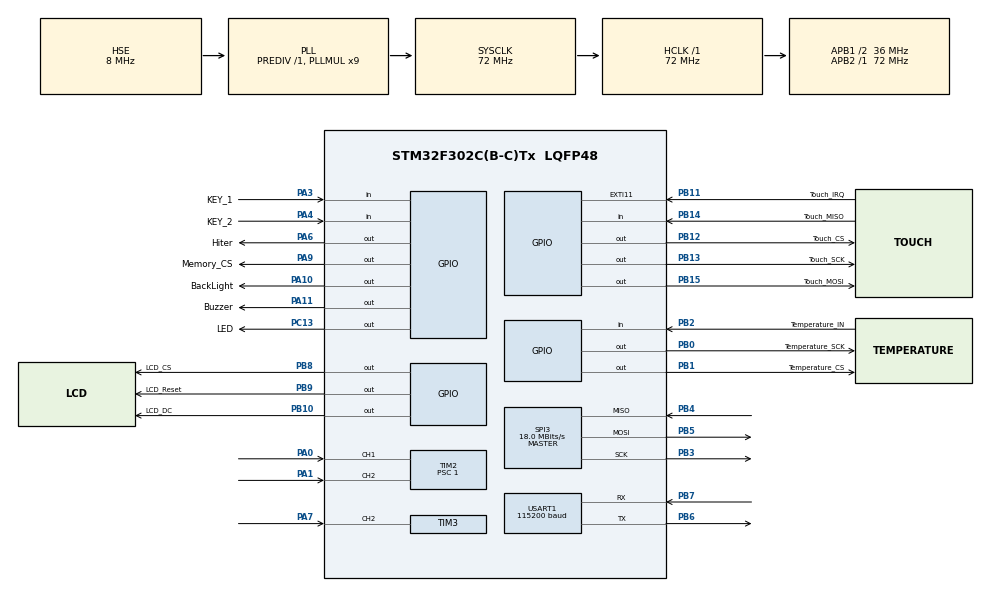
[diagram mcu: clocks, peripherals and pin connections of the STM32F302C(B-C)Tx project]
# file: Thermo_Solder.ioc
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FREERTOS.HEAP_NUMBER=4
FREERTOS.INCLUDE_uxTaskPriorityGet=0
FREERTOS.MEMORY_ALLOCATION=0
FREERTOS.Queues01=ValuePower,2,uint16_t,0,Dynamic,NULL,NULL
FREERTOS.Tasks01=defaultTask,-2,128,StartDefaultTask,Default,NULL,Dynamic,NULL,NULL;LCD_OUT,-2,256,LCD_TASK,Default,NULL,Dynamic,NULL,NULL;GetTemperature,1,256,GetTemp,Default,NULL,Dynamic,NULL,NULL;Enc,0,128,GetEnc,Default,NULL,Dynamic,NULL,NULL;Button,0,128,ButtonState,Default,NULL,Dynamic,NULL,NULL;PID,0,1024,CalcPID,Default,NULL,Dynamic,NULL,NULL;SetValue,0,128,SetValuePower,Default,NULL,Dynamic,NULL,NULL
FREERTOS.configTOTAL_HEAP_SIZE=28000
Mcu.Family=STM32F3
Mcu.Name=STM32F302C(B-C)Tx
Mcu.Package=LQFP48
NVIC.PriorityGroup=NVIC_PRIORITYGROUP_4
NVIC.TIM1_TRG_COM_TIM17_IRQn=true\:0\:0\:false\:false\:true\:false\:false\:true
NVIC.TIM3_IRQn=true\:0\:0\:false\:false\:true\:true\:true\:true
NVIC.TIM4_IRQn=true\:0\:0\:false\:false\:true\:true\:true\:true
NVIC.TimeBase=TIM1_TRG_COM_TIM17_IRQn
NVIC.TimeBaseIP=TIM17
PA0.GPIO_PuPd=GPIO_PULLUP
PA0.GPIO_Speed=GPIO_SPEED_FREQ_HIGH
PA0.Signal=S_TIM2_CH1_ETR
PA1.GPIO_PuPd=GPIO_PULLUP
PA1.GPIO_Speed=GPIO_SPEED_FREQ_HIGH
PA1.Signal=S_TIM2_CH2
PA10.GPIO_Label=BackLight
PA10.GPIO_PuPd=GPIO_PULLDOWN
PA10.Signal=GPIO_Output
PA11.GPIO_Label=Buzzer
PA11.GPIO_PuPd=GPIO_PULLDOWN
PA11.Signal=GPIO_Output
PA13.Mode=Serial_Wire
PA13.Signal=SYS_JTMS-SWDIO
PA14.Mode=Serial_Wire
PA14.Signal=SYS_JTCK-SWCLK
PA3.GPIO_Label=KEY_1
PA3.GPIO_PuPd=GPIO_PULLUP
PA3.Signal=GPIO_Input
PA4.GPIO_Label=KEY_2
PA4.GPIO_PuPd=GPIO_PULLUP
PA4.Signal=GPIO_Input
PA6.GPIO_Label=Hiter
PA6.GPIO_PuPd=GPIO_PULLDOWN
PA6.Signal=GPIO_Output
PA7.Signal=S_TIM3_CH2
PA9.GPIO_Label=Memory_CS
PA9.GPIO_PuPd=GPIO_PULLUP
PA9.Signal=GPIO_Output
PB0.GPIO_Label=Temperature_SCK
PB0.Signal=GPIO_Output
PB1.GPIO_Label=Temperature_CS
PB1.GPIO_PuPd=GPIO_PULLUP
PB1.Signal=GPIO_Output
PB10.GPIO_Label=LCD_DC
PB10.GPIO_PuPd=GPIO_PULLDOWN
PB10.Signal=GPIO_Output
PB11.GPIO_Label=Touch_IRQ
PB11.Signal=GPXTI11
PB12.GPIO_Label=Touch_CS
PB12.GPIO_PuPd=GPIO_PULLUP
PB12.Signal=GPIO_Output
PB13.GPIO_Label=Touch_SCK
PB13.Signal=GPIO_Output
PB14.GPIO_Label=Touch_MISO
PB14.Signal=GPIO_Input
PB15.GPIO_Label=Touch_MOSI
PB15.Signal=GPIO_Output
PB2.GPIO_Label=Temperature_IN
PB2.Signal=GPIO_Input
PB3.Mode=Full_Duplex_Master
PB3.Signal=SPI3_SCK
PB4.Mode=Full_Duplex_Master
PB4.Signal=SPI3_MISO
PB5.Mode=Full_Duplex_Master
PB5.Signal=SPI3_MOSI
PB6.Mode=Asynchronous
PB6.Signal=USART1_TX
PB7.Mode=Asynchronous
PB7.Signal=USART1_RX
PB8.GPIO_Label=LCD_CS
PB8.GPIO_PuPd=GPIO_PULLUP
PB8.Signal=GPIO_Output
PB9.GPIO_Label=LCD_Reset
PB9.GPIO_PuPd=GPIO_PULLDOWN
PB9.Signal=GPIO_Output
PC13.GPIO_Label=LED
PC13.GPIO_PuPd=GPIO_PULLDOWN
PC13.Signal=GPIO_Output
PC14-OSC32_IN.Mode=LSE-External-Oscillator
PC14-OSC32_IN.Signal=RCC_OSC32_IN
PC15-OSC32_OUT.Mode=LSE-External-Oscillator
PC15-OSC32_OUT.Signal=RCC_OSC32_OUT
PF0-OSC_IN.Mode=HSE-External-Oscillator
PF0-OSC_IN.Signal=RCC_OSC_IN
PF1-OSC_OUT.Mode=HSE-External-Oscillator
PF1-OSC_OUT.Signal=RCC_OSC_OUT
ProjectManager.HeapSize=0x200
ProjectManager.StackSize=0x400
ProjectManager.TargetToolchain=Makefile
RCC.AHBFreq_Value=72000000
RCC.APB1CLKDivider=RCC_HCLK_DIV2
RCC.APB1Freq_Value=36000000
RCC.APB1TimFreq_Value=72000000
RCC.APB2Freq_Value=72000000
RCC.APB2TimFreq_Value=72000000
RCC.CortexFreq_Value=72000000
RCC.HCLKFreq_Value=72000000
RCC.HSE_VALUE=8000000
RCC.HSI_VALUE=8000000
RCC.PLLMUL=RCC_PLL_MUL9
RCC.PLLSourceVirtual=RCC_PLLSOURCE_HSE
RCC.RTCClockSelection=RCC_RTCCLKSOURCE_LSE
RCC.SYSCLKFreq_VALUE=72000000
RCC.SYSCLKSourceVirtual=RCC_SYSCLKSOURCE_PLLCLK
RCC.USBFreq_Value=72000000
RTC.Alarm-Alarm\ A=RTC_ALARM_A
SH.S_TIM2_CH1_ETR.0=TIM2_CH1,Encoder_Interface
SH.S_TIM2_CH2.0=TIM2_CH2,Encoder_Interface
SH.S_TIM3_CH2.0=TIM3_CH2,TriggerSource_TI2FP2
SPI3.BaudRatePrescaler=SPI_BAUDRATEPRESCALER_2
SPI3.CalculateBaudRate=18.0 MBits/s
SPI3.DataSize=SPI_DATASIZE_8BIT
SPI3.Direction=SPI_DIRECTION_2LINES
SPI3.Mode=SPI_MODE_MASTER
SPI3.VirtualType=VM_MASTER
TIM2.AutoReloadPreload=TIM_AUTORELOAD_PRELOAD_ENABLE
TIM2.ClockDivision=TIM_CLOCKDIVISION_DIV4
TIM2.EncoderMode=TIM_ENCODERMODE_TI12
TIM2.IC1Polarity=TIM_ICPOLARITY_RISING
TIM2.IC2Polarity=TIM_ICPOLARITY_RISING
TIM2.Period=65535
TIM2.Prescaler=1
TIM3.Period=850
TIM3.Prescaler=720-1
TIM3.Slave_TriggerPolarity=TIM_TRIGGERPOLARITY_FALLING
TIM3.TIM_MasterOutputTrigger=TIM_TRGO_UPDATE
TIM4.CounterMode=TIM_COUNTERMODE_DOWN
TIM4.Period=1
TIM4.Prescaler=720-1
USART1.BaudRate=115200
USART1.VirtualMode-Asynchronous=VM_ASYNC
VP_FREERTOS_VS_CMSIS_V1.Mode=CMSIS_V1
VP_RTC_VS_RTC_Activate.Mode=RTC_Enabled
VP_RTC_VS_RTC_Alarm_A_Intern.Mode=Alarm A
VP_RTC_VS_RTC_Calendar.Mode=RTC_Calendar
VP_SYS_VS_tim17.Mode=TIM17
VP_TIM3_VS_ClockSourceINT.Mode=Internal
VP_TIM3_VS_ControllerModeTrigger.Mode=Trigger Mode
VP_TIM4_VS_ClockSourceINT.Mode=Internal
VP_TIM4_VS_ClockSourceITR.Mode=TriggerSource_ITR2
VP_TIM4_VS_ControllerModeTrigger.Mode=Trigger Mode
board=custom

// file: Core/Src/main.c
/* USER CODE BEGIN Header */
/**
  ******************************************************************************
  * @file           : main.c
  * @brief          : Main program body
  ******************************************************************************
  * @attention
  *
  * <h2><center>&copy; Copyright (c) 2020 STMicroelectronics.
  * All rights reserved.</center></h2>
  *
  * This software component is licensed by ST under BSD 3-Clause license,
  * the "License"; You may not use this file except in compliance with the
  * License. You may obtain a copy of the License at:
  *                        opensource.org/licenses/BSD-3-Clause
  *
  ******************************************************************************
  */
/* USER CODE END Header */
#include "main.h"
#include "cmsis_os.h"
#include "rtc.h"
#include "spi.h"
#include "tim.h"
#include "usart.h"
#include "gpio.h"

/* USER CODE BEGIN Includes */
#include "ILI9341_GFX.h"
#include "ILI9341_STM32_Driver.h"
#include "ILI9341_Touchscreen.h"
#include "max6675.h"
#include "pid.h"
/* USER CODE END Includes */

void SystemClock_Config(void);
void MX_FREERTOS_Init(void);

/* USER CODE BEGIN 0 */
volatile pid_controller_t pid;
char buf[20];
volatile uint16_t CurrentTemp;
volatile uint16_t SetTemp = 22;
/* USER CODE END 0 */

int main(void)
{
  /* USER CODE BEGIN 1 */
uint8_t count;
  /* USER CODE END 1 */

  /* MCU Configuration--------------------------------------------------------*/

  /* Reset of all peripherals, Initializes the Flash interface and the Systick. */
  HAL_Init();

  /* Configure the system clock */
  SystemClock_Config();

  /* Initialize all configured peripherals */
  MX_GPIO_Init();
  MX_RTC_Init();
  MX_SPI3_Init();
  MX_TIM2_Init();
  MX_TIM3_Init();
  MX_USART1_UART_Init();
  MX_TIM4_Init();
  /* USER CODE BEGIN 2 */
  TIM2->CNT =  32768;
MAX6675_Init();
ILI9341_Init();
ILI9341_Fill_Screen(WHITE);
ILI9341_Set_Rotation(SCREEN_HORIZONTAL_1);
ILI9341_Draw_Text("Start",0,0,BLACK,4,WHITE);
HAL_Delay(1000);
ILI9341_Fill_Screen(WHITE);
HAL_TIM_Encoder_Start(&htim2, TIM_CHANNEL_1);
HAL_TIM_Encoder_Start(&htim2, TIM_CHANNEL_2);
pid_controller_init(&pid, 75,6.7, 20.15, MIN_PID, MAX_PID);
count = sprintf(buf, "Start\n\r");
HAL_UART_Transmit(&huart1,buf,count,100);
HAL_TIM_Base_Start_IT(&htim3);
//TIM3->DIER = 1;
HAL_TIM_Base_Start_IT(&htim4);
//TIM2->CCER = TIM_CCER_CC1P | TIM_CCER_CC2P;
//TIM2->CCMR1 = TIM_CCMR1_CC1S_0 | TIM_CCMR1_CC2S_0;
//TIM2->SMCR = TIM_SMCR_SMS_0 | TIM_SMCR_SMS_1;
//TIM2->CR1 = TIM_CR1_CEN;
//HAL_Delay(2000);
//HAL_TIM_Encoder_Start(&htim2, TIM_CHANNEL_2);
  /* USER CODE END 2 */

  /* Call init function for freertos objects (in freertos.c) */
  MX_FREERTOS_Init();
  /* Start scheduler */
  osKernelStart();

  /* We should never get here as control is now taken by the scheduler */
  /* Infinite loop */
  while (1)
  {

  }
}

void SystemClock_Config(void)
{
  RCC_OscInitTypeDef RCC_OscInitStruct = {0};
  RCC_ClkInitTypeDef RCC_ClkInitStruct = {0};
  RCC_PeriphCLKInitTypeDef PeriphClkInit = {0};

  /** Configure LSE Drive Capability
  */
  HAL_PWR_EnableBkUpAccess();
  __HAL_RCC_LSEDRIVE_CONFIG(RCC_LSEDRIVE_LOW);
  /** Initializes the RCC Oscillators according to the specified parameters
  * in the RCC_OscInitTypeDef structure.
  */
  RCC_OscInitStruct.OscillatorType = RCC_OSCILLATORTYPE_HSE|RCC_OSCILLATORTYPE_LSE;
  RCC_OscInitStruct.HSEState = RCC_HSE_ON;
  RCC_OscInitStruct.HSEPredivValue = RCC_HSE_PREDIV_DIV1;
  RCC_OscInitStruct.LSEState = RCC_LSE_ON;
  RCC_OscInitStruct.HSIState = RCC_HSI_ON;
  RCC_OscInitStruct.PLL.PLLState = RCC_PLL_ON;
  RCC_OscInitStruct.PLL.PLLSource = RCC_PLLSOURCE_HSE;
  RCC_OscInitStruct.PLL.PLLMUL = RCC_PLL_MUL9;
  if (HAL_RCC_OscConfig(&RCC_OscInitStruct) != HAL_OK)
  {
    Error_Handler();
  }
  /** Initializes the CPU, AHB and APB buses clocks
  */
  RCC_ClkInitStruct.ClockType = RCC_CLOCKTYPE_HCLK|RCC_CLOCKTYPE_SYSCLK
                              |RCC_CLOCKTYPE_PCLK1|RCC_CLOCKTYPE_PCLK2;
  RCC_ClkInitStruct.SYSCLKSource = RCC_SYSCLKSOURCE_PLLCLK;
  RCC_ClkInitStruct.AHBCLKDivider = RCC_SYSCLK_DIV1;
  RCC_ClkInitStruct.APB1CLKDivider = RCC_HCLK_DIV2;
  RCC_ClkInitStruct.APB2CLKDivider = RCC_HCLK_DIV1;

  if (HAL_RCC_ClockConfig(&RCC_ClkInitStruct, FLASH_LATENCY_2) != HAL_OK)
  {
    Error_Handler();
  }
  PeriphClkInit.PeriphClockSelection = RCC_PERIPHCLK_USART1|RCC_PERIPHCLK_RTC;
  PeriphClkInit.Usart1ClockSelection = RCC_USART1CLKSOURCE_PCLK2;
  PeriphClkInit.RTCClockSelection = RCC_RTCCLKSOURCE_LSE;
  if (HAL_RCCEx_PeriphCLKConfig(&PeriphClkInit) != HAL_OK)
  {
    Error_Handler();
  }
}

void HAL_TIM_PeriodElapsedCallback(TIM_HandleTypeDef *htim)
{
  if (htim->Instance == TIM17) {
    HAL_IncTick();
  }
}

void Error_Handler(void)
{
}

/************************ (C) COPYRIGHT STMicroelectronics *****END OF FILE****/

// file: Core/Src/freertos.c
/* USER CODE BEGIN Header */
/**
  ******************************************************************************
  * File Name          : freertos.c
  * Description        : Code for freertos applications
  ******************************************************************************
  * @attention
  *
  * <h2><center>&copy; Copyright (c) 2020 STMicroelectronics.
  * All rights reserved.</center></h2>
  *
  * This software component is licensed by ST under Ultimate Liberty license
  * SLA0044, the "License"; You may not use this file except in compliance with
  * the License. You may obtain a copy of the License at:
  *                             www.st.com/SLA0044
  *
  ******************************************************************************
  */
/* USER CODE END Header */

#include "FreeRTOS.h"
#include "task.h"
#include "main.h"
#include "cmsis_os.h"

/* USER CODE BEGIN Includes */
#include "ILI9341_GFX.h"
#include "ILI9341_STM32_Driver.h"
#include "ILI9341_Touchscreen.h"
#include "max6675.h"
//#include <stdio.h>
//#include <stdarg.h>
#include "pid.h"
#include "usart.h"
#include "tim.h"
/* USER CODE END Includes */

/* USER CODE BEGIN Variables */
extern pid_controller_t pid;
/* USER CODE END Variables */
osThreadId defaultTaskHandle;
osThreadId LCD_OUTHandle;
osThreadId GetTemperatureHandle;
osThreadId EncHandle;
osThreadId ButtonHandle;
osThreadId PIDHandle;
osThreadId SetValueHandle;
osMessageQId ValuePowerHandle;

void StartDefaultTask(void const * argument);
void LCD_TASK(void const * argument);
void GetTemp(void const * argument);
void GetEnc(void const * argument);
void ButtonState(void const * argument);
void CalcPID(void const * argument);
void SetValuePower(void const * argument);

void MX_FREERTOS_Init(void); /* (MISRA C 2004 rule 8.1) */

void MX_FREERTOS_Init(void) {

  /* Create the queue(s) */
  /* definition and creation of ValuePower */
  osMessageQDef(ValuePower, 2, uint16_t);
  ValuePowerHandle = osMessageCreate(osMessageQ(ValuePower), NULL);

  /* Create the thread(s) */
  /* definition and creation of defaultTask */
  osThreadDef(defaultTask, StartDefaultTask, osPriorityLow, 0, 128);
  defaultTaskHandle = osThreadCreate(osThread(defaultTask), NULL);

  /* definition and creation of LCD_OUT */
  osThreadDef(LCD_OUT, LCD_TASK, osPriorityLow, 0, 256);
  LCD_OUTHandle = osThreadCreate(osThread(LCD_OUT), NULL);

  /* definition and creation of GetTemperature */
  osThreadDef(GetTemperature, GetTemp, osPriorityAboveNormal, 0, 256);
  GetTemperatureHandle = osThreadCreate(osThread(GetTemperature), NULL);

  /* definition and creation of Enc */
  osThreadDef(Enc, GetEnc, osPriorityNormal, 0, 128);
  EncHandle = osThreadCreate(osThread(Enc), NULL);

  /* definition and creation of Button */
  osThreadDef(Button, ButtonState, osPriorityNormal, 0, 128);
  ButtonHandle = osThreadCreate(osThread(Button), NULL);

  /* definition and creation of PID */
  osThreadDef(PID, CalcPID, osPriorityNormal, 0, 1024);
  PIDHandle = osThreadCreate(osThread(PID), NULL);

  /* definition and creation of SetValue */
  osThreadDef(SetValue, SetValuePower, osPriorityNormal, 0, 128);
  SetValueHandle = osThreadCreate(osThread(SetValue), NULL);

}

void StartDefaultTask(void const * argument)
{
  /* USER CODE BEGIN StartDefaultTask */
  /* Infinite loop */
  for(;;)
  {
   // HAL_GPIO_TogglePin(GPIOC,GPIO_PIN_13);
    osDelay(500);
  }
  /* USER CODE END StartDefaultTask */
}

void LCD_TASK(void const * argument)
{
  for(;;)
  {
    osDelay(1);
  }
}

void GetTemp(void const * argument)
{
  /* USER CODE BEGIN GetTemp */
  volatile float tmp;
  extern volatile uint16_t CurrentTemp;
  char buf[20];
  /* Infinite loop */
  for(;;)
  {
    tmp = MAX6675_Temp();

    sprintf(buf,"Temp = %d C",  (uint16_t)tmp);
    ILI9341_Draw_Text(buf, 0,0,BLUE,4,WHITE);
     CurrentTemp = tmp;
    osDelay(1000);
  }
  /* USER CODE END GetTemp */
}

void GetEnc(void const * argument)
{
  /* USER CODE BEGIN GetEnc */
 uint16_t last=0, tmp;
 extern TIM_HandleTypeDef htim2;
 char buf[20];
uint16_t i, count;
extern  uint16_t SetTemp;
  /* Infinite loop */
  for(;;)
    {
      tmp = TIM2->CNT;
      if (tmp !=last)
        {
          if (TIM2->CR1 & TIM_CR1_DIR) {SetTemp--;} else {SetTemp++;}
          if (SetTemp<1) {SetTemp=0;}
          if (SetTemp>=350) {SetTemp=350;}
          last = tmp;
          osMessagePut(ValuePowerHandle,SetTemp,100);
          count = sprintf(buf,"Set Temp = %d temp = %d last = %d \n\r ", SetTemp, tmp, last);
          HAL_UART_Transmit(&huart1,(uint8_t*)buf,count,100);
        }
    //vTaskDelay(10);
    taskYIELD();
  }
  /* USER CODE END GetEnc */
}

void ButtonState(void const * argument)
{
  /* USER CODE BEGIN ButtonState */
  uint8_t key1_stat, key2_stat, last_key1_stat, last_key2_stat;
  /* Infinite loop */
  for(;;)
  {
    key1_stat = HAL_GPIO_ReadPin(GPIOA, GPIO_PIN_3);
    key2_stat = HAL_GPIO_ReadPin(GPIOA, GPIO_PIN_4);
    if (key1_stat == 0) {HAL_GPIO_WritePin(Hiter_GPIO_Port, Hiter_Pin,GPIO_PIN_SET );}
    if (key2_stat == 0) {HAL_GPIO_WritePin(Hiter_GPIO_Port, Hiter_Pin,GPIO_PIN_RESET );}
    osDelay(20);
  }
  /* USER CODE END ButtonState */
}

void CalcPID(void const * argument)
{
  /* USER CODE BEGIN CalcPID */
  uint16_t val;
  char buf[20];
  uint8_t count;
  uint16_t tmp, last;
  extern volatile uint16_t CurrentTemp;
  extern  pid_controller_t pid;
  osEvent event;
  //extern UART_HandleTypeDef huart1;
  /* Infinite loop */
  for(;;)
    {
      event = osMessageGet(ValuePowerHandle, 100);
      if (event.status == osEventMessage)
        {
          tmp = event.value.v;
        }
      taskENTER_CRITICAL();
      val = pid_controller_calculate(&pid, tmp, CurrentTemp );
      if (last != tmp)
        {
          pid_controller_reset(&pid, MIN_PID, MAX_PID);
          last = tmp;
        }
      TIM3->ARR = ((pid.value-MAX_PID)*-1)+1;
      taskEXIT_CRITICAL();
      count = sprintf(buf,"Set temp =%d Pid Val = %d , TIM3 val = %ld \n\r ", tmp, pid.value, TIM3->ARR);
      HAL_UART_Transmit(&huart1,(uint8_t*)buf,count,100);
      osDelay(100);
    }
  /* USER CODE END CalcPID */
}

void SetValuePower(void const * argument)
{
  /* USER CODE BEGIN SetValuePower */

  char buf[20];
  uint8_t count;
  uint16_t tmp;
  /* Infinite loop */
  for(;;)
  {

     //    tmp =
     //    TIM3->ARR = ((tmp-950)*-1)+1;
     //      count = sprintf(buf,"Pid Val = %d  TIM3 = %d \n\r ", tmp, TIM3->ARR);
     //     HAL_UART_Transmit(&huart1,(uint8_t*)buf,count,100);

        //if (TIM3->CR1 == 0)
        //  {
            //TIM3->ARR = tmp;
        //  }
     // }

    taskYIELD();
    osDelay(1);
  }
  /* USER CODE END SetValuePower */
}

/************************ (C) COPYRIGHT STMicroelectronics *****END OF FILE****/
